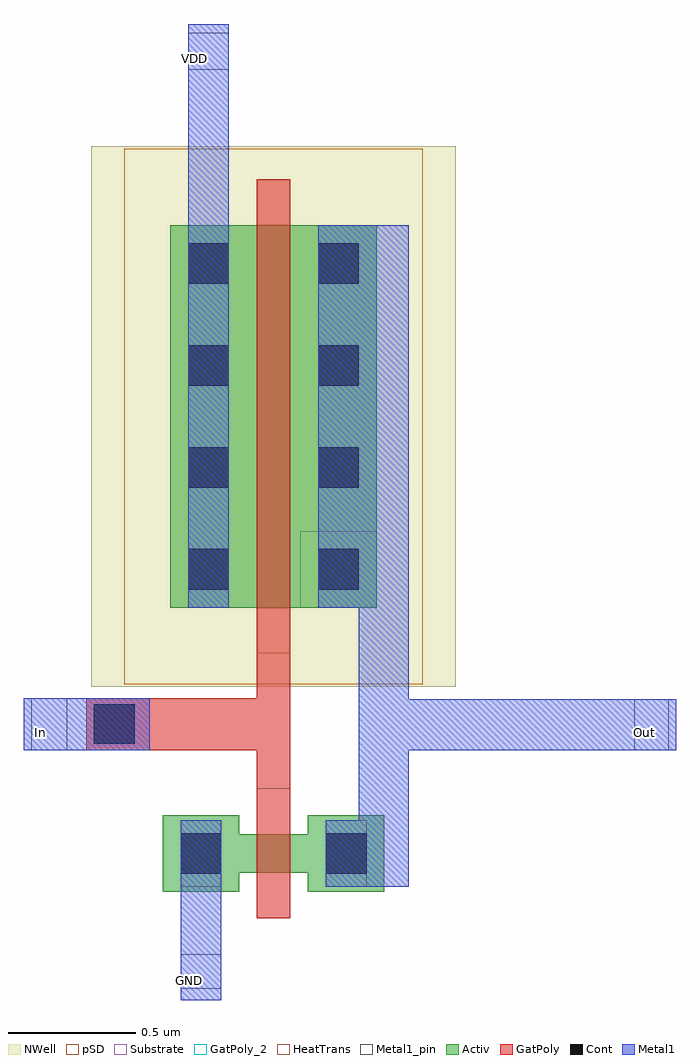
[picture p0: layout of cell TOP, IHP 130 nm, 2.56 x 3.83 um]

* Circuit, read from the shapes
.subckt TOP GND In Out VDD
XM1 Out In GND VSUBS sg13_lv_nmos w=0.15u l=0.13u
XM2 Out In VDD n1 sg13_lv_pmos w=1.5u l=0.13u
.ends

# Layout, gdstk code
import gdstk
lib = gdstk.Library(unit=1e-6, precision=1e-09)
def R(c, l, rs):  # rectangles x0, y0, x1, y1
    for r in rs: c.add(gdstk.rectangle(r[:2], r[2:], *l))
def A(c, l, x, y, w, h, nx, ny, dx, dy):  # array of equal rectangles
    R(c, l, [(x+i*dx, y+j*dy, x+i*dx+w, y+j*dy+h) for i in range(nx) for j in range(ny)])
Activ = (1, 0)
GatPoly = (5, 0)
GatPoly_2 = (5, 2)
Cont = (6, 0)
Metal1 = (8, 0)
Metal1_pin = (8, 2)
pSD = (14, 0)
NWell = (31, 0)
Substrate = (40, 0)
HeatTrans = (51, 0)

nmos = lib.new_cell('nmos')
R(nmos, Activ, [(0,0,0.3,0.3), (0.57,0,0.87,0.3), (0,0.075,0.87,0.225)])
R(nmos, GatPoly, [(0.37,-0.105,0.5,0.405)])
R(nmos, GatPoly_2, [(0.37,-0.105,0.5,0.405)])
R(nmos, Cont, [(0.07,0.07,0.23,0.23), (0.64,0.07,0.8,0.23)])
R(nmos, Metal1, [(0.07,0.02,0.23,0.28), (0.64,0.02,0.8,0.28)])
R(nmos, Metal1_pin, [(0.07,0.02,0.23,0.28), (0.64,0.02,0.8,0.28)])
R(nmos, HeatTrans, [(0.37,-0.105,0.5,0.405)])
nmos.add(gdstk.Label('nmos', (0.435,0.15), layer=63, texttype=0))
nmos.add(gdstk.Label('nmos', (0.435,0.15), layer=51, texttype=0))

pmos = lib.new_cell('pmos')
R(pmos, Activ, [(0,0,0.3,0.3), (0,0,0.81,1.5), (0.51,0,0.81,0.3)])
R(pmos, GatPoly, [(0.34,-0.18,0.47,1.68), (0.34,-0.18,0.47,1.68)])
A(pmos, Cont, 0.07, 0.07, 0.16, 0.16, 1, 4, 0, 0.4)
A(pmos, Cont, 0.58, 0.07, 0.16, 0.16, 1, 4, 0, 0.4)
R(pmos, Metal1, [(0.07,0,0.23,1.5), (0.07,0,0.23,1.5), (0.58,0,0.74,1.5), (0.58,0,0.74,1.5)])
R(pmos, pSD, [(-0.18,-0.3,0.99,1.8)])
R(pmos, NWell, [(-0.31,-0.31,1.12,1.81)])
R(pmos, Substrate, [(0.51,0,0.81,0.3)])
R(pmos, HeatTrans, [(0.34,-0.18,0.47,1.68)])
pmos.add(gdstk.Label('pmos', (0.405,0.75), layer=63, texttype=0))
pmos.add(gdstk.Label('pmos', (0.405,0.75), layer=51, texttype=0))

top = lib.new_cell('TOP')
R(top, GatPoly, [(-0.13,-0.21,0,0.32), (-0.8,-0.06,-0.13,0.145)])
R(top, Cont, [(-0.77,-0.035,-0.61,0.12)])
R(top, Metal1, [(-0.43,-1.04,-0.27,-0.335), (0.27,-0.595,0.465,2), (-1.045,-0.06,-0.55,0.145), (0.465,-0.06,1.515,0.14), (-0.4,1.795,-0.24,2.79)])
R(top, Metal1_pin, [(-0.43,-0.995,-0.27,-0.86), (-1.015,-0.06,-0.875,0.145), (1.35,-0.06,1.485,0.14), (-0.4,2.61,-0.24,2.755)])
top.add(gdstk.Reference(nmos, (-0.5,-0.615)))
top.add(gdstk.Reference(pmos, (-0.47,0.5)))
top.add(gdstk.Label('In', (-0.98,0.01), layer=8, texttype=2))
top.add(gdstk.Label('Out', (1.39,0.01), layer=8, texttype=2))
top.add(gdstk.Label('VDD', (-0.375,2.655), layer=8, texttype=2))
top.add(gdstk.Label('GND', (-0.395,-0.965), layer=8, texttype=2))

lib.write_gds('TOP.gds')
